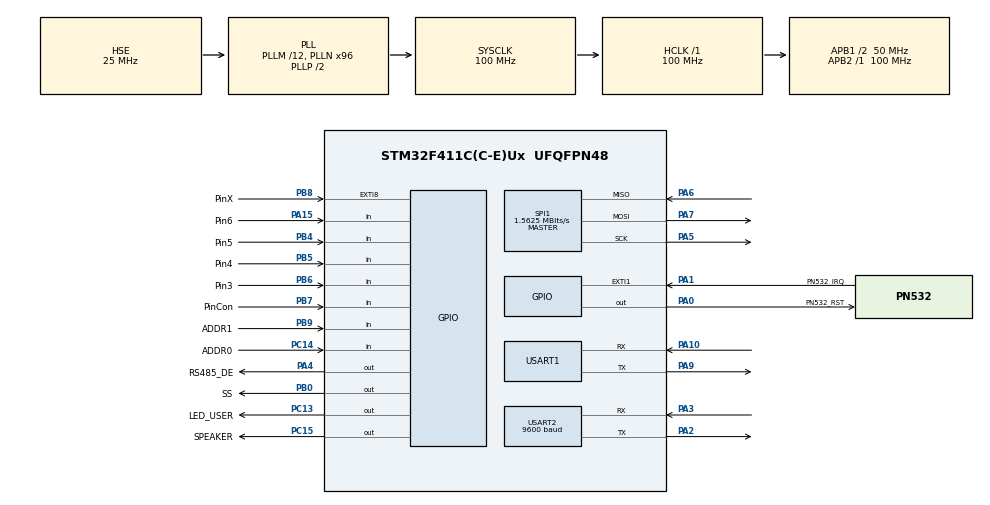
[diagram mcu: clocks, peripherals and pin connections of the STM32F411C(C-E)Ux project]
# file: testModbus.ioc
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Mcu.Family=STM32F4
Mcu.Name=STM32F411C(C-E)Ux
Mcu.Package=UFQFPN48
NVIC.EXTI9_5_IRQn=true\:0\:0\:false\:false\:true\:true\:true\:true
NVIC.PriorityGroup=NVIC_PRIORITYGROUP_4
NVIC.TIM3_IRQn=true\:0\:0\:false\:false\:true\:true\:true\:true
NVIC.TIM4_IRQn=true\:0\:0\:false\:false\:true\:true\:true\:true
NVIC.USART2_IRQn=true\:0\:0\:false\:false\:true\:true\:true\:true
PA0-WKUP.GPIO_Label=PN532_RST
PA0-WKUP.Signal=GPIO_Output
PA1.GPIO_Label=PN532_IRQ
PA1.Signal=GPXTI1
PA10.Mode=Asynchronous
PA10.Signal=USART1_RX
PA13.Mode=Trace_Asynchronous_SW
PA13.Signal=SYS_JTMS-SWDIO
PA14.Mode=Trace_Asynchronous_SW
PA14.Signal=SYS_JTCK-SWCLK
PA15.GPIO_Label=Pin6
PA15.Signal=GPIO_Input
PA2.Mode=Asynchronous
PA2.Signal=USART2_TX
PA3.Mode=Asynchronous
PA3.Signal=USART2_RX
PA4.GPIO_Label=RS485_DE
PA4.GPIO_PuPd=GPIO_PULLUP
PA4.Signal=GPIO_Output
PA5.Mode=Full_Duplex_Master
PA5.Signal=SPI1_SCK
PA6.Mode=Full_Duplex_Master
PA6.Signal=SPI1_MISO
PA7.Mode=Full_Duplex_Master
PA7.Signal=SPI1_MOSI
PA9.Mode=Asynchronous
PA9.Signal=USART1_TX
PB0.GPIO_Label=SS
PB0.GPIO_PuPd=GPIO_PULLUP
PB0.PinState=GPIO_PIN_SET
PB0.Signal=GPIO_Output
PB3.Mode=Trace_Asynchronous_SW
PB3.Signal=SYS_JTDO-SWO
PB4.GPIO_Label=Pin5
PB4.Signal=GPIO_Input
PB5.GPIO_Label=Pin4
PB5.Signal=GPIO_Input
PB6.GPIO_Label=Pin3
PB6.Signal=GPIO_Input
PB7.GPIO_Label=PinCon
PB7.Signal=GPIO_Input
PB8.GPIO_Label=PinX
PB8.Signal=GPXTI8
PB9.GPIO_Label=ADDR1
PB9.GPIO_PuPd=GPIO_PULLUP
PB9.Signal=GPIO_Input
PC13-ANTI_TAMP.GPIO_Label=LED_USER
PC13-ANTI_TAMP.Signal=GPIO_Output
PC14-OSC32_IN.GPIO_Label=ADDR0
PC14-OSC32_IN.GPIO_PuPd=GPIO_PULLUP
PC14-OSC32_IN.Signal=GPIO_Input
PC15-OSC32_OUT.GPIO_Label=SPEAKER
PC15-OSC32_OUT.Signal=GPIO_Output
PH0\ -\ OSC_IN.Mode=HSE-External-Oscillator
PH0\ -\ OSC_IN.Signal=RCC_OSC_IN
PH1\ -\ OSC_OUT.Mode=HSE-External-Oscillator
PH1\ -\ OSC_OUT.Signal=RCC_OSC_OUT
ProjectManager.HeapSize=0x200
ProjectManager.StackSize=0x400
ProjectManager.TargetToolchain=CMake
RCC.48MHZClocksFreq_Value=50000000
RCC.AHBFreq_Value=100000000
RCC.APB1CLKDivider=RCC_HCLK_DIV2
RCC.APB1Freq_Value=50000000
RCC.APB1TimFreq_Value=100000000
RCC.APB2Freq_Value=100000000
RCC.APB2TimFreq_Value=100000000
RCC.CortexFreq_Value=100000000
RCC.HCLKFreq_Value=100000000
RCC.HSE_VALUE=25000000
RCC.HSI_VALUE=16000000
RCC.LSE_VALUE=32768
RCC.PLLM=12
RCC.PLLN=96
RCC.PLLSourceVirtual=RCC_PLLSOURCE_HSE
RCC.SYSCLKFreq_VALUE=100000000
RCC.SYSCLKSource=RCC_SYSCLKSOURCE_PLLCLK
RCC.VCOOutputFreq_Value=200000000
SPI1.BaudRatePrescaler=SPI_BAUDRATEPRESCALER_64
SPI1.CalculateBaudRate=1.5625 MBits/s
SPI1.Direction=SPI_DIRECTION_2LINES
SPI1.FirstBit=SPI_FIRSTBIT_LSB
SPI1.Mode=SPI_MODE_MASTER
SPI1.VirtualType=VM_MASTER
TIM3.Period=3500-1
TIM3.Prescaler=100-1
TIM4.Period=500-1
TIM4.Prescaler=100-1
USART1.VirtualMode=VM_ASYNC
USART2.BaudRate=9600
USART2.VirtualMode=VM_ASYNC
VP_TIM3_VS_ClockSourceINT.Mode=Internal
VP_TIM4_VS_ClockSourceINT.Mode=Internal
board=custom

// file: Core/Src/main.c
/* USER CODE BEGIN Header */
/**
  ******************************************************************************
  * @file           : main.c
  * @brief          : Main program body
  ******************************************************************************
  * @attention
  *
  * Copyright (c) 2025 STMicroelectronics.
  * All rights reserved.
  *
  * This software is licensed under terms that can be found in the LICENSE file
  * in the root directory of this software component.
  * If no LICENSE file comes with this software, it is provided AS-IS.
  *
  ******************************************************************************
  */
/* USER CODE END Header */
#include "main.h"

/* USER CODE BEGIN Includes */
#include <stdio.h>
#include "modbus_rtu.h"
#include "pn532_stm32.h"
#include "dash.h"
#include "leds.h"
/* USER CODE END Includes */

SPI_HandleTypeDef hspi1;

TIM_HandleTypeDef htim3;
TIM_HandleTypeDef htim4;

UART_HandleTypeDef huart1;
UART_HandleTypeDef huart2;

/* USER CODE BEGIN PV */
#define PUTCHAR_PROTOTYPE int __io_putchar(int ch)

uint16_t spk_cnt = 0;
/* USER CODE END PV */

void SystemClock_Config(void);
static void MX_GPIO_Init(void);
static void MX_USART1_UART_Init(void);
static void MX_USART2_UART_Init(void);
static void MX_TIM3_Init(void);
static void MX_SPI1_Init(void);
static void MX_TIM4_Init(void);

int main(void)
{

  /* USER CODE BEGIN 1 */
  uint8_t buff[255];
  uint8_t uid[MIFARE_UID_MAX_LENGTH];
  int32_t uid_len = 0;
  /* USER CODE END 1 */

  /* MCU Configuration--------------------------------------------------------*/

  /* Reset of all peripherals, Initializes the Flash interface and the Systick. */
  HAL_Init();

  /* Configure the system clock */
  SystemClock_Config();

  /* Initialize all configured peripherals */
  MX_GPIO_Init();
  MX_USART1_UART_Init();
  MX_USART2_UART_Init();
  MX_TIM3_Init();
  MX_SPI1_Init();
  MX_TIM4_Init();
  /* USER CODE BEGIN 2 */
  printf("testModbus\r\n");
  set_slaveID();
  set_led(LED_STATUS, LED_HEART);

  // Power
  discreteInputs[0] = false;

  // RFID
  inputRegisters[0] = 0;
  inputRegisters[1] = 0;
  // Parts
  inputRegisters[2] = 0;
  // Errors
  inputRegisters[3] = 0;

  modbus_init();

  PN532 pn532;
  PN532_SPI_Init(&pn532);
  if (PN532_GetFirmwareVersion(&pn532, buff) == PN532_STATUS_OK) {
    printf("Found PN532 with firmware version: %d.%d\r\n", buff[1], buff[2]);
  } else {
    return -1;
  }
  PN532_SamConfiguration(&pn532);
  printf("Waiting for RFID/NFC card...\r\n");
  /* USER CODE END 2 */

  /* Infinite loop */
  /* USER CODE BEGIN WHILE */
  while (1)
  {
    static uint32_t last = 0;
    if (HAL_GetTick() - last > 1000) {
      last = HAL_GetTick();

      // 134ms no card - 75ms w/ card
      uid_len = PN532_ReadPassiveTarget(&pn532, uid, PN532_MIFARE_ISO14443A, 100);
      if (uid_len != PN532_STATUS_ERROR) {
        printf("Found card with UID: ");
        for (uint8_t i = 0; i < uid_len; i++) {
          printf("%02x ", uid[i]);
        }
        inputRegisters[0] = (uid[0]<<8) + uid[1];
        inputRegisters[1] = (uid[2]<<8) + uid[3];
        inputRegisters[2] = 0;
        inputRegisters[3] = 0;
        printf("\r\n");
        spk_cnt = 500;
        HAL_GPIO_WritePin(SPEAKER_GPIO_Port, SPEAKER_Pin, true);
      }
    }

    dashLoop();
    /* USER CODE END WHILE */

  }
}

void SystemClock_Config(void)
{
  RCC_OscInitTypeDef RCC_OscInitStruct = {0};
  RCC_ClkInitTypeDef RCC_ClkInitStruct = {0};

  /** Configure the main internal regulator output voltage
  */
  __HAL_RCC_PWR_CLK_ENABLE();
  __HAL_PWR_VOLTAGESCALING_CONFIG(PWR_REGULATOR_VOLTAGE_SCALE1);

  /** Initializes the RCC Oscillators according to the specified parameters
  * in the RCC_OscInitTypeDef structure.
  */
  RCC_OscInitStruct.OscillatorType = RCC_OSCILLATORTYPE_HSE;
  RCC_OscInitStruct.HSEState = RCC_HSE_ON;
  RCC_OscInitStruct.PLL.PLLState = RCC_PLL_ON;
  RCC_OscInitStruct.PLL.PLLSource = RCC_PLLSOURCE_HSE;
  RCC_OscInitStruct.PLL.PLLM = 12;
  RCC_OscInitStruct.PLL.PLLN = 96;
  RCC_OscInitStruct.PLL.PLLP = RCC_PLLP_DIV2;
  RCC_OscInitStruct.PLL.PLLQ = 4;
  if (HAL_RCC_OscConfig(&RCC_OscInitStruct) != HAL_OK)
  {
    Error_Handler();
  }

  /** Initializes the CPU, AHB and APB buses clocks
  */
  RCC_ClkInitStruct.ClockType = RCC_CLOCKTYPE_HCLK|RCC_CLOCKTYPE_SYSCLK
                              |RCC_CLOCKTYPE_PCLK1|RCC_CLOCKTYPE_PCLK2;
  RCC_ClkInitStruct.SYSCLKSource = RCC_SYSCLKSOURCE_PLLCLK;
  RCC_ClkInitStruct.AHBCLKDivider = RCC_SYSCLK_DIV1;
  RCC_ClkInitStruct.APB1CLKDivider = RCC_HCLK_DIV2;
  RCC_ClkInitStruct.APB2CLKDivider = RCC_HCLK_DIV1;

  if (HAL_RCC_ClockConfig(&RCC_ClkInitStruct, FLASH_LATENCY_3) != HAL_OK)
  {
    Error_Handler();
  }
}

static void MX_SPI1_Init(void)
{

  /* SPI1 parameter configuration*/
  hspi1.Instance = SPI1;
  hspi1.Init.Mode = SPI_MODE_MASTER;
  hspi1.Init.Direction = SPI_DIRECTION_2LINES;
  hspi1.Init.DataSize = SPI_DATASIZE_8BIT;
  hspi1.Init.CLKPolarity = SPI_POLARITY_LOW;
  hspi1.Init.CLKPhase = SPI_PHASE_1EDGE;
  hspi1.Init.NSS = SPI_NSS_SOFT;
  hspi1.Init.BaudRatePrescaler = SPI_BAUDRATEPRESCALER_64;
  hspi1.Init.FirstBit = SPI_FIRSTBIT_LSB;
  hspi1.Init.TIMode = SPI_TIMODE_DISABLE;
  hspi1.Init.CRCCalculation = SPI_CRCCALCULATION_DISABLE;
  hspi1.Init.CRCPolynomial = 10;
  if (HAL_SPI_Init(&hspi1) != HAL_OK)
  {
    Error_Handler();
  }

}

static void MX_TIM3_Init(void)
{

  TIM_ClockConfigTypeDef sClockSourceConfig = {0};
  TIM_MasterConfigTypeDef sMasterConfig = {0};

  htim3.Instance = TIM3;
  htim3.Init.Prescaler = 100-1;
  htim3.Init.CounterMode = TIM_COUNTERMODE_UP;
  htim3.Init.Period = 3500-1;
  htim3.Init.ClockDivision = TIM_CLOCKDIVISION_DIV1;
  htim3.Init.AutoReloadPreload = TIM_AUTORELOAD_PRELOAD_DISABLE;
  if (HAL_TIM_Base_Init(&htim3) != HAL_OK)
  {
    Error_Handler();
  }
  sClockSourceConfig.ClockSource = TIM_CLOCKSOURCE_INTERNAL;
  if (HAL_TIM_ConfigClockSource(&htim3, &sClockSourceConfig) != HAL_OK)
  {
    Error_Handler();
  }
  sMasterConfig.MasterOutputTrigger = TIM_TRGO_RESET;
  sMasterConfig.MasterSlaveMode = TIM_MASTERSLAVEMODE_DISABLE;
  if (HAL_TIMEx_MasterConfigSynchronization(&htim3, &sMasterConfig) != HAL_OK)
  {
    Error_Handler();
  }

}

static void MX_TIM4_Init(void)
{

  TIM_ClockConfigTypeDef sClockSourceConfig = {0};
  TIM_MasterConfigTypeDef sMasterConfig = {0};

  htim4.Instance = TIM4;
  htim4.Init.Prescaler = 100-1;
  htim4.Init.CounterMode = TIM_COUNTERMODE_UP;
  htim4.Init.Period = 500-1;
  htim4.Init.ClockDivision = TIM_CLOCKDIVISION_DIV1;
  htim4.Init.AutoReloadPreload = TIM_AUTORELOAD_PRELOAD_DISABLE;
  if (HAL_TIM_Base_Init(&htim4) != HAL_OK)
  {
    Error_Handler();
  }
  sClockSourceConfig.ClockSource = TIM_CLOCKSOURCE_INTERNAL;
  if (HAL_TIM_ConfigClockSource(&htim4, &sClockSourceConfig) != HAL_OK)
  {
    Error_Handler();
  }
  sMasterConfig.MasterOutputTrigger = TIM_TRGO_RESET;
  sMasterConfig.MasterSlaveMode = TIM_MASTERSLAVEMODE_DISABLE;
  if (HAL_TIMEx_MasterConfigSynchronization(&htim4, &sMasterConfig) != HAL_OK)
  {
    Error_Handler();
  }

}

static void MX_USART1_UART_Init(void)
{

  huart1.Instance = USART1;
  huart1.Init.BaudRate = 115200;
  huart1.Init.WordLength = UART_WORDLENGTH_8B;
  huart1.Init.StopBits = UART_STOPBITS_1;
  huart1.Init.Parity = UART_PARITY_NONE;
  huart1.Init.Mode = UART_MODE_TX_RX;
  huart1.Init.HwFlowCtl = UART_HWCONTROL_NONE;
  huart1.Init.OverSampling = UART_OVERSAMPLING_16;
  if (HAL_UART_Init(&huart1) != HAL_OK)
  {
    Error_Handler();
  }

}

static void MX_USART2_UART_Init(void)
{

  huart2.Instance = USART2;
  huart2.Init.BaudRate = 9600;
  huart2.Init.WordLength = UART_WORDLENGTH_8B;
  huart2.Init.StopBits = UART_STOPBITS_1;
  huart2.Init.Parity = UART_PARITY_NONE;
  huart2.Init.Mode = UART_MODE_TX_RX;
  huart2.Init.HwFlowCtl = UART_HWCONTROL_NONE;
  huart2.Init.OverSampling = UART_OVERSAMPLING_16;
  if (HAL_UART_Init(&huart2) != HAL_OK)
  {
    Error_Handler();
  }

}

static void MX_GPIO_Init(void)
{
  GPIO_InitTypeDef GPIO_InitStruct = {0};

  /* GPIO Ports Clock Enable */
  __HAL_RCC_GPIOC_CLK_ENABLE();
  __HAL_RCC_GPIOH_CLK_ENABLE();
  __HAL_RCC_GPIOA_CLK_ENABLE();
  __HAL_RCC_GPIOB_CLK_ENABLE();

  /*Configure GPIO pin Output Level */
  HAL_GPIO_WritePin(GPIOC, LED_USER_Pin|SPEAKER_Pin, GPIO_PIN_RESET);

  /*Configure GPIO pin Output Level */
  HAL_GPIO_WritePin(GPIOA, PN532_RST_Pin|RS485_DE_Pin, GPIO_PIN_RESET);

  /*Configure GPIO pin Output Level */
  HAL_GPIO_WritePin(SS_GPIO_Port, SS_Pin, GPIO_PIN_SET);

  /*Configure GPIO pins : LED_USER_Pin SPEAKER_Pin */
  GPIO_InitStruct.Pin = LED_USER_Pin|SPEAKER_Pin;
  GPIO_InitStruct.Mode = GPIO_MODE_OUTPUT_PP;
  GPIO_InitStruct.Pull = GPIO_NOPULL;
  GPIO_InitStruct.Speed = GPIO_SPEED_FREQ_LOW;
  HAL_GPIO_Init(GPIOC, &GPIO_InitStruct);

  /*Configure GPIO pin : ADDR0_Pin */
  GPIO_InitStruct.Pin = ADDR0_Pin;
  GPIO_InitStruct.Mode = GPIO_MODE_INPUT;
  GPIO_InitStruct.Pull = GPIO_PULLUP;
  HAL_GPIO_Init(ADDR0_GPIO_Port, &GPIO_InitStruct);

  /*Configure GPIO pin : PN532_RST_Pin */
  GPIO_InitStruct.Pin = PN532_RST_Pin;
  GPIO_InitStruct.Mode = GPIO_MODE_OUTPUT_PP;
  GPIO_InitStruct.Pull = GPIO_NOPULL;
  GPIO_InitStruct.Speed = GPIO_SPEED_FREQ_LOW;
  HAL_GPIO_Init(PN532_RST_GPIO_Port, &GPIO_InitStruct);

  /*Configure GPIO pin : PN532_IRQ_Pin */
  GPIO_InitStruct.Pin = PN532_IRQ_Pin;
  GPIO_InitStruct.Mode = GPIO_MODE_IT_RISING;
  GPIO_InitStruct.Pull = GPIO_NOPULL;
  HAL_GPIO_Init(PN532_IRQ_GPIO_Port, &GPIO_InitStruct);

  /*Configure GPIO pin : RS485_DE_Pin */
  GPIO_InitStruct.Pin = RS485_DE_Pin;
  GPIO_InitStruct.Mode = GPIO_MODE_OUTPUT_PP;
  GPIO_InitStruct.Pull = GPIO_PULLUP;
  GPIO_InitStruct.Speed = GPIO_SPEED_FREQ_LOW;
  HAL_GPIO_Init(RS485_DE_GPIO_Port, &GPIO_InitStruct);

  /*Configure GPIO pin : SS_Pin */
  GPIO_InitStruct.Pin = SS_Pin;
  GPIO_InitStruct.Mode = GPIO_MODE_OUTPUT_PP;
  GPIO_InitStruct.Pull = GPIO_PULLUP;
  GPIO_InitStruct.Speed = GPIO_SPEED_FREQ_LOW;
  HAL_GPIO_Init(SS_GPIO_Port, &GPIO_InitStruct);

  /*Configure GPIO pin : Pin6_Pin */
  GPIO_InitStruct.Pin = Pin6_Pin;
  GPIO_InitStruct.Mode = GPIO_MODE_INPUT;
  GPIO_InitStruct.Pull = GPIO_NOPULL;
  HAL_GPIO_Init(Pin6_GPIO_Port, &GPIO_InitStruct);

  /*Configure GPIO pins : Pin5_Pin Pin4_Pin Pin3_Pin PinCon_Pin */
  GPIO_InitStruct.Pin = Pin5_Pin|Pin4_Pin|Pin3_Pin|PinCon_Pin;
  GPIO_InitStruct.Mode = GPIO_MODE_INPUT;
  GPIO_InitStruct.Pull = GPIO_NOPULL;
  HAL_GPIO_Init(GPIOB, &GPIO_InitStruct);

  /*Configure GPIO pin : PinX_Pin */
  GPIO_InitStruct.Pin = PinX_Pin;
  GPIO_InitStruct.Mode = GPIO_MODE_IT_RISING;
  GPIO_InitStruct.Pull = GPIO_NOPULL;
  HAL_GPIO_Init(PinX_GPIO_Port, &GPIO_InitStruct);

  /*Configure GPIO pin : ADDR1_Pin */
  GPIO_InitStruct.Pin = ADDR1_Pin;
  GPIO_InitStruct.Mode = GPIO_MODE_INPUT;
  GPIO_InitStruct.Pull = GPIO_PULLUP;
  HAL_GPIO_Init(ADDR1_GPIO_Port, &GPIO_InitStruct);

  /* EXTI interrupt init*/
  HAL_NVIC_SetPriority(EXTI9_5_IRQn, 0, 0);
  HAL_NVIC_EnableIRQ(EXTI9_5_IRQn);

}

/* USER CODE BEGIN 4 */
/**
  * @brief  Retargets the C library printf function to the USART.
  *   None
  * @retval None
  */
PUTCHAR_PROTOTYPE
{
  /* Place your implementation of fputc here */
  /* e.g. write a character to the USART1 and Loop until the end of transmission */
  HAL_UART_Transmit(&huart1, (uint8_t *)&ch, 1, 0xFFFF);
  // HAL_UART_Transmit_IT(&huart1, (uint8_t *)&ch, 1);

  return ch;
}
/* USER CODE END 4 */

void Error_Handler(void)
{
  __disable_irq();
  while (1)
  {
  }
}
